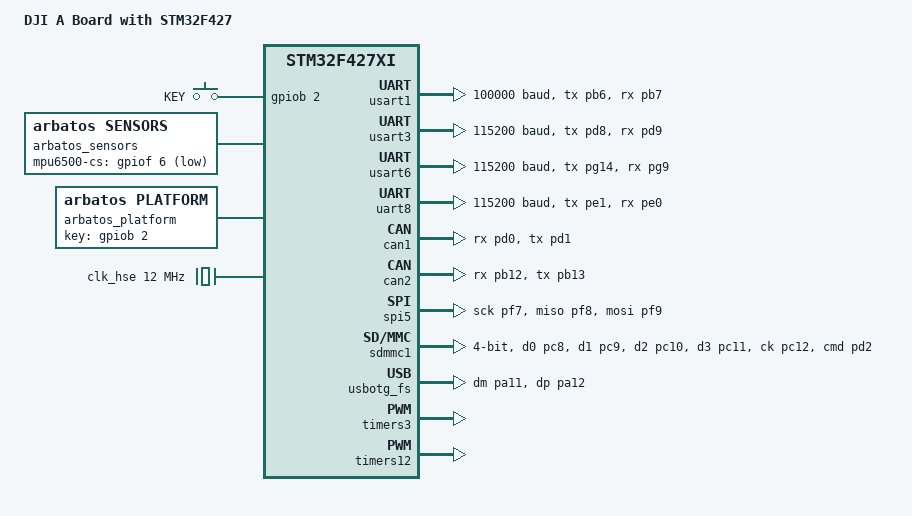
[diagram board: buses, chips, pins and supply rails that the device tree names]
/* SPDX-License-Identifier: Apache-2.0 */

/dts-v1/;
#include <st/f4/stm32f427Xi.dtsi>
#include "dji_a_f427-pinctrl.dtsi"
#include <zephyr/dt-bindings/input/input-event-codes.h>
#include <zephyr/dt-bindings/pwm/pwm.h>

/ {
	model = "DJI A Board with STM32F427";
	compatible = "arbatos,dji-a-f427";

	chosen {
		zephyr,console = &usart1;
		zephyr,shell-uart = &usart1;
		zephyr,sram = &sram0;
		zephyr,flash = &flash0;
		zephyr,dtcm = &ccm0;
		zephyr,canbus = &can1;
	};

	aliases {
		sw0 = &user_key;
		can-primary = &can1;
		can-secondary = &can2;
		uart-rc = &usart1;
		uart-aux = &uart8;
		uart-referee = &usart6;
		sd-disk = &sdmmc1;
	};

	keys {
		compatible = "gpio-keys";
		user_key: key_0 {
			label = "KEY";
			gpios = <&gpiob 2 GPIO_ACTIVE_HIGH>;
			zephyr,code = <INPUT_KEY_0>;
		};
	};

	arbatos_sensors {
		compatible = "arbatos,sensors";
		mpu6500-spi = <&spi5>;
		mpu6500-cs-gpios = <&gpiof 6 GPIO_ACTIVE_LOW>;
		mpu6500-spi-hz = <8000000>;
		imu-heater-pwms = <&pwm3 2 PWM_USEC(1000) PWM_POLARITY_NORMAL>;
		imu-heater-period-cycles = <50>;
	};

	arbatos_platform: arbatos-platform {
		compatible = "arbatos,platform";
		key-gpios = <&gpiob 2 GPIO_ACTIVE_HIGH>;
		buzzer-pwms = <&pwm12 1 PWM_USEC(100) PWM_POLARITY_NORMAL>;
	};
};

&clk_lsi { status = "okay"; };
&clk_lse { status = "okay"; };
&clk_hse { clock-frequency = <DT_FREQ_M(12)>; status = "okay"; };
&pll { div-m = <12>; mul-n = <336>; div-p = <2>; div-q = <7>; clocks = <&clk_hse>; status = "okay"; };
&rcc { clocks = <&pll>; clock-frequency = <DT_FREQ_M(168)>; ahb-prescaler = <1>; apb1-prescaler = <4>; apb2-prescaler = <2>; };

&usart1 { pinctrl-0 = <&usart1_tx_pb6 &usart1_rx_pb7>; pinctrl-names = "default"; current-speed = <100000>; status = "okay"; };
&usart3 { pinctrl-0 = <&usart3_tx_pd8 &usart3_rx_pd9>; pinctrl-names = "default"; current-speed = <115200>; status = "okay"; };
&usart6 { pinctrl-0 = <&usart6_tx_pg14 &usart6_rx_pg9>; pinctrl-names = "default"; current-speed = <115200>; status = "okay"; };
&uart8 { pinctrl-0 = <&uart8_tx_pe1 &uart8_rx_pe0>; pinctrl-names = "default"; current-speed = <115200>; status = "okay"; };
&can1 { pinctrl-0 = <&can1_rx_pd0 &can1_tx_pd1>; pinctrl-names = "default"; status = "okay"; };
&can2 { pinctrl-0 = <&can2_rx_pb12 &can2_tx_pb13>; pinctrl-names = "default"; status = "okay"; };
&spi5 { pinctrl-0 = <&spi5_sck_pf7 &spi5_miso_pf8 &spi5_mosi_pf9>; pinctrl-names = "default"; status = "okay"; };
&sdmmc1 { pinctrl-0 = <&sdmmc1_d0_pc8 &sdmmc1_d1_pc9 &sdmmc1_d2_pc10 &sdmmc1_d3_pc11 &sdmmc1_ck_pc12 &sdmmc1_cmd_pd2>; pinctrl-names = "default"; bus-width = <4>; disk-name = "SD"; status = "okay"; };
zephyr_udc0: &usbotg_fs {
	pinctrl-0 = <&usb_otg_fs_dm_pa11 &usb_otg_fs_dp_pa12>;
	pinctrl-names = "default";
	status = "okay";

	cdc_acm_uart0: cdc_acm_uart0 {
		compatible = "zephyr,cdc-acm-uart";
	};
};

&timers3 {
	status = "okay";
	pwm3: pwm { status = "okay"; pinctrl-0 = <&tim3_ch2_pb5>; pinctrl-names = "default"; };
};

&timers12 {
	status = "okay";
	pwm12: pwm { status = "okay"; pinctrl-0 = <&tim12_ch1_ph6>; pinctrl-names = "default"; };
};
